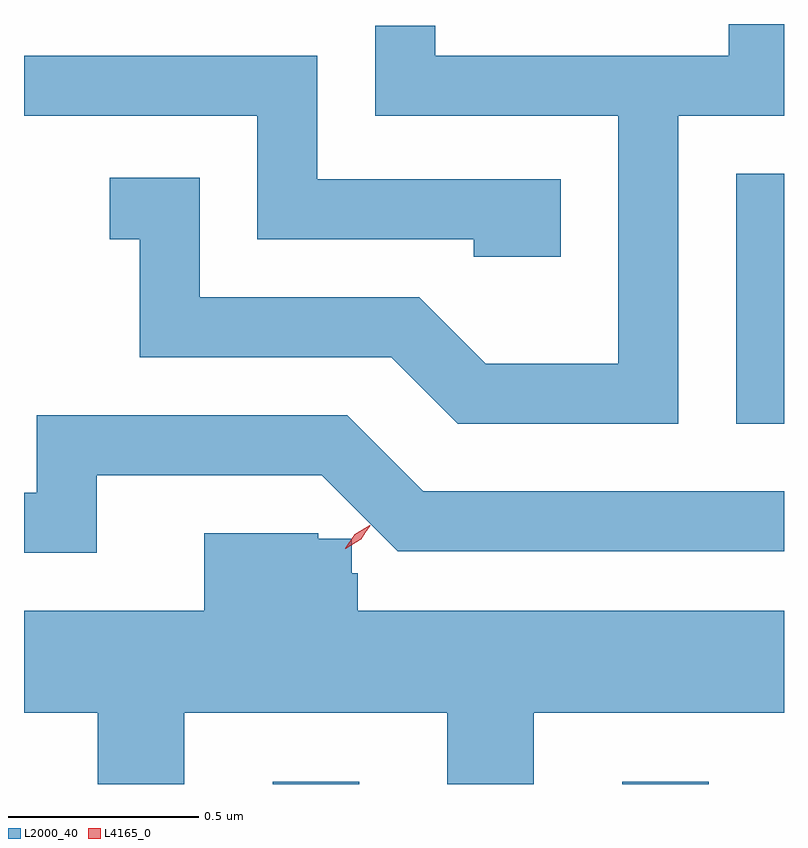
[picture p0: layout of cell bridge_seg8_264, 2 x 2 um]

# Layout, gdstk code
import gdstk
lib = gdstk.Library(unit=1e-6, precision=1e-09)
def R(c, l, rs):  # rectangles x0, y0, x1, y1
    for r in rs: c.add(gdstk.rectangle(r[:2], r[2:], *l))
def P(c, l, *ps):  # polygons
    for p in ps: c.add(gdstk.Polygon(p, *l))
L2000_40 = (2000, 40)
L4165_0 = (4165, 0)

bridge_seg8_264 = lib.new_cell('bridge_seg8_264')
R(bridge_seg8_264, L2000_40, [(1115.781,1831.788,1116.009,1831.794), (1116.701,1831.788,1116.929,1831.794), (1117.001,1832.736,1117.127,1833.394)])
P(bridge_seg8_264, L2000_40, [(1116.849,1833.546),(1117.127,1833.546),(1117.127,1833.788),(1116.981,1833.788),(1116.981,1833.704),(1116.209,1833.704),(1116.209,1833.783),(1116.051,1833.783),(1116.051,1833.546),(1116.691,1833.546),(1116.691,1832.894),(1116.342,1832.894),(1116.167,1833.069),(1115.589,1833.069),(1115.589,1833.384),(1115.353,1833.384),(1115.353,1833.221),(1115.431,1833.221),(1115.431,1832.911),(1116.094,1832.911),(1116.269,1832.736),(1116.849,1832.736)],
  [(1116.539,1833.379),(1115.899,1833.379),(1115.899,1833.704),(1115.127,1833.704),(1115.127,1833.546),(1115.741,1833.546),(1115.741,1833.221),(1116.311,1833.221),(1116.311,1833.176),(1116.539,1833.176)],
  [(1115.319,1832.601),(1115.91,1832.601),(1116.11,1832.401),(1117.127,1832.401),(1117.127,1832.559),(1116.177,1832.559),(1115.977,1832.759),(1115.161,1832.759),(1115.161,1832.554),(1115.127,1832.554),(1115.127,1832.396),(1115.319,1832.396)],
  [(1115.549,1831.976),(1116.241,1831.976),(1116.241,1831.788),(1116.469,1831.788),(1116.469,1831.976),(1117.127,1831.976),(1117.127,1832.244),(1116.005,1832.244),(1116.005,1832.343),(1115.989,1832.343),(1115.989,1832.433),(1115.901,1832.433),(1115.901,1832.448),(1115.601,1832.448),(1115.601,1832.244),(1115.127,1832.244),(1115.127,1831.976),(1115.321,1831.976),(1115.321,1831.788),(1115.549,1831.788)])
P(bridge_seg8_264, L4165_0, [(1115.973,1832.407),(1115.973,1832.408),(1115.998,1832.445),(1116.037,1832.469),(1116.038,1832.469),(1116.038,1832.468),(1116.012,1832.431),(1115.974,1832.407)],
  [(1115.977,1832.411),(1115.977,1832.411),(1116,1832.446),(1116.035,1832.467),(1116.036,1832.467),(1116.036,1832.466),(1116.014,1832.432),(1115.978,1832.411)])

lib.write_gds('bridge_seg8_264.gds')
